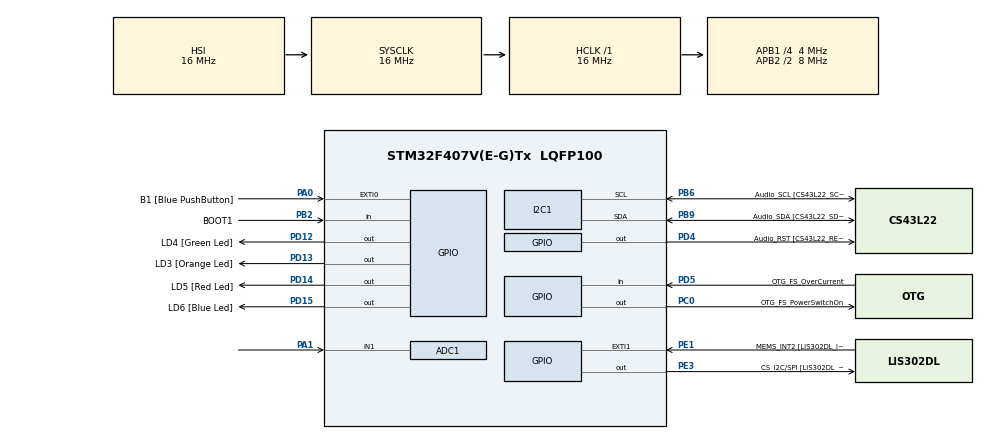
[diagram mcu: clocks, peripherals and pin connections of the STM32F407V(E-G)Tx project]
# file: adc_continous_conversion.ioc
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ADC1.Channel-0\#ChannelRegularConversion=ADC_CHANNEL_1
ADC1.Channel-1\#ChannelInjectedConversion=ADC_CHANNEL_1
ADC1.ContinuousConvMode=ENABLE
ADC1.EOCSelection=ADC_EOC_SEQ_CONV
ADC1.InjNumberOfConversion=1
ADC1.InjectedOffset-1\#ChannelInjectedConversion=0
ADC1.InjectedRank-1\#ChannelInjectedConversion=1
ADC1.NbrOfConversion=1
ADC1.NbrOfConversionFlag=1
ADC1.Rank-0\#ChannelRegularConversion=1
ADC1.SamplingTime-0\#ChannelRegularConversion=ADC_SAMPLETIME_3CYCLES
ADC1.SamplingTime-1\#ChannelInjectedConversion=ADC_SAMPLETIME_3CYCLES
ADC1.ScanConvMode=DISABLE
ADC1.master=1
Mcu.Family=STM32F4
Mcu.Name=STM32F407V(E-G)Tx
Mcu.Package=LQFP100
NVIC.PriorityGroup=NVIC_PRIORITYGROUP_0
PA0-WKUP.GPIO_Label=B1 [Blue PushButton]
PA0-WKUP.GPIO_ModeDefaultEXTI=GPIO_MODE_EVT_RISING
PA0-WKUP.GPIO_PuPd=GPIO_NOPULL
PA0-WKUP.Signal=GPXTI0
PA1.Signal=ADCx_IN1
PA10.GPIO_Label=OTG_FS_ID
PA10.GPIO_Mode=GPIO_MODE_AF_PP
PA10.GPIO_PuPd=GPIO_NOPULL
PA10.GPIO_Speed=GPIO_SPEED_FREQ_LOW
PA10.Signal=USB_OTG_FS_ID
PA11.GPIO_Label=OTG_FS_DM
PA11.GPIO_Mode=GPIO_MODE_AF_PP
PA11.GPIO_PuPd=GPIO_NOPULL
PA11.GPIO_Speed=GPIO_SPEED_FREQ_LOW
PA11.Signal=USB_OTG_FS_DM
PA12.GPIO_Label=OTG_FS_DP
PA12.GPIO_Mode=GPIO_MODE_AF_PP
PA12.GPIO_PuPd=GPIO_NOPULL
PA12.GPIO_Speed=GPIO_SPEED_FREQ_LOW
PA12.Signal=USB_OTG_FS_DP
PA13.GPIO_Label=SWDIO
PA13.Mode=Serial_Wire
PA13.Signal=SYS_JTMS-SWDIO
PA14.GPIO_Label=SWCLK
PA14.Mode=Serial_Wire
PA14.Signal=SYS_JTCK-SWCLK
PA4.GPIO_Label=I2S3_WS [CS43L22_LRCK]
PA4.GPIO_Mode=GPIO_MODE_AF_PP
PA4.GPIO_PuPd=GPIO_NOPULL
PA4.GPIO_Speed=GPIO_SPEED_FREQ_LOW
PA4.Signal=I2S3_WS
PA5.GPIO_Label=SPI1_SCK [LIS302DL_SCL/SPC]
PA5.GPIO_Mode=GPIO_MODE_AF_PP
PA5.GPIO_PuPd=GPIO_NOPULL
PA5.GPIO_Speed=GPIO_SPEED_FREQ_LOW
PA5.Signal=SPI1_SCK
PA6.GPIO_Label=SPI1_MISO [LIS302DL_SDO]
PA6.GPIO_Mode=GPIO_MODE_AF_PP
PA6.GPIO_PuPd=GPIO_NOPULL
PA6.GPIO_Speed=GPIO_SPEED_FREQ_LOW
PA6.Signal=SPI1_MISO
PA7.GPIO_Label=SPI1_MOSI [LIS302DL_SDA/SDI/SDO]
PA7.GPIO_Mode=GPIO_MODE_AF_PP
PA7.GPIO_PuPd=GPIO_NOPULL
PA7.GPIO_Speed=GPIO_SPEED_FREQ_LOW
PA7.Signal=SPI1_MOSI
PA9.GPIO_Label=VBUS_FS
PA9.GPIO_Mode=GPIO_MODE_INPUT
PA9.GPIO_PuPd=GPIO_NOPULL
PA9.Signal=USB_OTG_FS_VBUS
PB10.GPIO_Label=CLK_IN [MP45DT02_CLK]
PB10.GPIO_Mode=GPIO_MODE_AF_PP
PB10.GPIO_PuPd=GPIO_NOPULL
PB10.GPIO_Speed=GPIO_SPEED_FREQ_LOW
PB10.Signal=I2S2_CK
PB2.GPIO_Label=BOOT1
PB2.GPIO_Mode=GPIO_MODE_INPUT
PB2.GPIO_PuPd=GPIO_NOPULL
PB2.Signal=GPIO_Input
PB3.GPIO_Label=SWO
PB3.Signal=SYS_JTDO-SWO
PB6.GPIO_Label=Audio_SCL [CS43L22_SCL]
PB6.GPIO_Mode=GPIO_MODE_AF_OD
PB6.GPIO_Pu=GPIO_PULLUP
PB6.GPIO_PuPd=GPIO_NOPULL
PB6.GPIO_Speed=GPIO_SPEED_FREQ_LOW
PB6.Mode=I2C
PB6.Signal=I2C1_SCL
PB9.GPIO_Label=Audio_SDA [CS43L22_SDA]
PB9.GPIO_Mode=GPIO_MODE_AF_OD
PB9.GPIO_Pu=GPIO_PULLUP
PB9.GPIO_PuPd=GPIO_NOPULL
PB9.GPIO_Speed=GPIO_SPEED_FREQ_LOW
PB9.Mode=I2C
PB9.Signal=I2C1_SDA
PC0.GPIO_Label=OTG_FS_PowerSwitchOn
PC0.GPIO_PuPd=GPIO_NOPULL
PC0.GPIO_Speed=GPIO_SPEED_FREQ_LOW
PC0.PinState=GPIO_PIN_SET
PC0.Signal=GPIO_Output
PC10.GPIO_Label=I2S3_SCK [CS43L22_SCLK]
PC10.GPIO_Mode=GPIO_MODE_AF_PP
PC10.GPIO_PuPd=GPIO_NOPULL
PC10.GPIO_Speed=GPIO_SPEED_FREQ_LOW
PC10.Signal=I2S3_CK
PC12.GPIO_Label=I2S3_SD [CS43L22_SDIN]
PC12.GPIO_Mode=GPIO_MODE_AF_PP
PC12.GPIO_PuPd=GPIO_NOPULL
PC12.GPIO_Speed=GPIO_SPEED_FREQ_LOW
PC12.Signal=I2S3_SD
PC14-OSC32_IN.GPIO_Label=PC14-OSC32_IN
PC14-OSC32_IN.Mode=LSE-External-Oscillator
PC14-OSC32_IN.Signal=RCC_OSC32_IN
PC15-OSC32_OUT.GPIO_Label=PC15-OSC32_OUT
PC15-OSC32_OUT.Mode=LSE-External-Oscillator
PC15-OSC32_OUT.Signal=RCC_OSC32_OUT
PC3.GPIO_Label=PDM_OUT [MP45DT02_DOUT]
PC3.GPIO_Mode=GPIO_MODE_AF_PP
PC3.GPIO_PuPd=GPIO_NOPULL
PC3.GPIO_Speed=GPIO_SPEED_FREQ_LOW
PC3.Signal=I2S2_SD
PC7.GPIO_Label=I2S3_MCK [CS43L22_MCLK]
PC7.GPIO_Mode=GPIO_MODE_AF_PP
PC7.GPIO_PuPd=GPIO_NOPULL
PC7.GPIO_Speed=GPIO_SPEED_FREQ_LOW
PC7.Signal=I2S3_MCK
PD12.GPIO_Label=LD4 [Green Led]
PD12.GPIO_PuPd=GPIO_NOPULL
PD12.GPIO_Speed=GPIO_SPEED_FREQ_LOW
PD12.Signal=GPIO_Output
PD13.GPIO_Label=LD3 [Orange Led]
PD13.GPIO_PuPd=GPIO_NOPULL
PD13.GPIO_Speed=GPIO_SPEED_FREQ_LOW
PD13.Signal=GPIO_Output
PD14.GPIO_Label=LD5 [Red Led]
PD14.GPIO_PuPd=GPIO_NOPULL
PD14.GPIO_Speed=GPIO_SPEED_FREQ_LOW
PD14.Signal=GPIO_Output
PD15.GPIO_Label=LD6 [Blue Led]
PD15.GPIO_PuPd=GPIO_NOPULL
PD15.GPIO_Speed=GPIO_SPEED_FREQ_LOW
PD15.Signal=GPIO_Output
PD4.GPIO_Label=Audio_RST [CS43L22_RESET]
PD4.GPIO_PuPd=GPIO_NOPULL
PD4.GPIO_Speed=GPIO_SPEED_FREQ_LOW
PD4.Signal=GPIO_Output
PD5.GPIO_Label=OTG_FS_OverCurrent
PD5.GPIO_Mode=GPIO_MODE_INPUT
PD5.GPIO_PuPd=GPIO_NOPULL
PD5.Signal=GPIO_Input
PE1.GPIO_Label=MEMS_INT2 [LIS302DL_INT2]
PE1.GPIO_ModeDefaultEXTI=GPIO_MODE_EVT_RISING
PE1.GPIO_PuPd=GPIO_NOPULL
PE1.Signal=GPXTI1
PE3.GPIO_Label=CS_I2C/SPI [LIS302DL_CS_I2C/SPI]
PE3.GPIO_PuPd=GPIO_NOPULL
PE3.GPIO_Speed=GPIO_SPEED_FREQ_LOW
PE3.Signal=GPIO_Output
PH0-OSC_IN.GPIO_Label=PH0-OSC_IN
PH0-OSC_IN.Mode=HSE-External-Oscillator
PH0-OSC_IN.Signal=RCC_OSC_IN
PH1-OSC_OUT.GPIO_Label=PH1-OSC_OUT
PH1-OSC_OUT.Mode=HSE-External-Oscillator
PH1-OSC_OUT.Signal=RCC_OSC_OUT
ProjectManager.HeapSize=0x200
ProjectManager.StackSize=0x400
ProjectManager.TargetToolchain=STM32CubeIDE
RCC.48MHZClocksFreq_Value=48000000
RCC.AHBFreq_Value=16000000
RCC.APB1CLKDivider=RCC_HCLK_DIV4
RCC.APB1Freq_Value=4000000
RCC.APB1TimFreq_Value=8000000
RCC.APB2CLKDivider=RCC_HCLK_DIV2
RCC.APB2Freq_Value=8000000
RCC.APB2TimFreq_Value=16000000
RCC.CortexFreq_Value=16000000
RCC.HCLKFreq_Value=16000000
RCC.HSE_VALUE=8000000
RCC.HSI_VALUE=16000000
RCC.PLLM=8
RCC.PLLN=336
RCC.PLLQ=7
RCC.PLLSourceVirtual=RCC_PLLSOURCE_HSE
RCC.SYSCLKFreq_VALUE=16000000
RCC.VCOOutputFreq_Value=336000000
SH.ADCx_IN1.0=ADC1_IN1,IN1
board=STM32F407G-DISC1

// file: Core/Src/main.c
/* USER CODE BEGIN Header */
/**
 ******************************************************************************
 * @file           : main.c
 * @brief          : Main program body
 ******************************************************************************
 * @attention
 *
 * <h2><center>&copy; Copyright (c) 2022 STMicroelectronics.
 * All rights reserved.</center></h2>
 *
 * This software component is licensed by ST under Ultimate Liberty license
 * SLA0044, the "License"; You may not use this file except in compliance with
 * the License. You may obtain a copy of the License at:
 *                             www.st.com/SLA0044
 *
 ******************************************************************************
 */
/* USER CODE END Header */
#include "main.h"

/* USER CODE BEGIN Includes */
#include <string.h>
#include <stdio.h>
/* USER CODE END Includes */

 ADC_HandleTypeDef hadc1;

I2C_HandleTypeDef hi2c1;

void SystemClock_Config(void);
static void MX_GPIO_Init(void);
static void MX_I2C1_Init(void);
static void MX_ADC1_Init(void);

int main(void)
{

  /* MCU Configuration--------------------------------------------------------*/

  /* Reset of all peripherals, Initializes the Flash interface and the Systick. */
  HAL_Init();

  /* Configure the system clock */
  SystemClock_Config();

  /* Initialize all configured peripherals */
  MX_GPIO_Init();
  MX_I2C1_Init();
  MX_ADC1_Init();
  /* USER CODE BEGIN 2 */
	LCD_Handle_t lcd_handle;
	lcd_handle.Slave_address = 0x4E;
	lcd_handle.i2c_handle = &hi2c1;
	lcd_handle.bg = 1;
	lcd_init(&lcd_handle);

	char* text = "Willkommen in Embedded Software!\0";
	uint32_t delayValue = 100;
	printText(&lcd_handle, text, delayValue);
	delayValue = 10;

	uint16_t adc_value = 0;
	char msg[30];
  /* USER CODE END 2 */

  /* Infinite loop */
  /* USER CODE BEGIN WHILE */
	HAL_ADC_Start(&hadc1);

	while (1)
	{
    /* USER CODE END WHILE */

    /* USER CODE BEGIN 3 */

		// Get ADC value
		HAL_GPIO_WritePin(LD6_GPIO_Port, LD6_Pin,1);

		if(HAL_ADC_PollForConversion(&hadc1, 1) == HAL_OK){
			adc_value = HAL_ADC_GetValue(&hadc1);
			HAL_GPIO_WritePin(LD6_GPIO_Port, LD6_Pin,0);
		}
		HAL_GPIO_WritePin(LD6_GPIO_Port, LD6_Pin,1);

		//float v1 = (adc_value) * ((3.3)/4096.0);
		// Convert to string and print
		sprintf(msg, "V1: %hu ", adc_value);
		printText(&lcd_handle, msg, 1);

		// Pretend we have to do something else for a while
		HAL_Delay(100);
		HAL_GPIO_WritePin(LD6_GPIO_Port, LD6_Pin,0);
	}
  /* USER CODE END 3 */
}

void SystemClock_Config(void)
{
  RCC_OscInitTypeDef RCC_OscInitStruct = {0};
  RCC_ClkInitTypeDef RCC_ClkInitStruct = {0};

  /** Configure the main internal regulator output voltage
  */
  __HAL_RCC_PWR_CLK_ENABLE();
  __HAL_PWR_VOLTAGESCALING_CONFIG(PWR_REGULATOR_VOLTAGE_SCALE1);

  /** Initializes the RCC Oscillators according to the specified parameters
  * in the RCC_OscInitTypeDef structure.
  */
  RCC_OscInitStruct.OscillatorType = RCC_OSCILLATORTYPE_HSI;
  RCC_OscInitStruct.HSIState = RCC_HSI_ON;
  RCC_OscInitStruct.HSICalibrationValue = RCC_HSICALIBRATION_DEFAULT;
  RCC_OscInitStruct.PLL.PLLState = RCC_PLL_NONE;
  if (HAL_RCC_OscConfig(&RCC_OscInitStruct) != HAL_OK)
  {
    Error_Handler();
  }

  /** Initializes the CPU, AHB and APB buses clocks
  */
  RCC_ClkInitStruct.ClockType = RCC_CLOCKTYPE_HCLK|RCC_CLOCKTYPE_SYSCLK
                              |RCC_CLOCKTYPE_PCLK1|RCC_CLOCKTYPE_PCLK2;
  RCC_ClkInitStruct.SYSCLKSource = RCC_SYSCLKSOURCE_HSI;
  RCC_ClkInitStruct.AHBCLKDivider = RCC_SYSCLK_DIV1;
  RCC_ClkInitStruct.APB1CLKDivider = RCC_HCLK_DIV4;
  RCC_ClkInitStruct.APB2CLKDivider = RCC_HCLK_DIV2;

  if (HAL_RCC_ClockConfig(&RCC_ClkInitStruct, FLASH_LATENCY_0) != HAL_OK)
  {
    Error_Handler();
  }
}

static void MX_ADC1_Init(void)
{

  ADC_ChannelConfTypeDef sConfig = {0};
  ADC_InjectionConfTypeDef sConfigInjected = {0};

  /** Configure the global features of the ADC (Clock, Resolution, Data Alignment and number of conversion)
  */
  hadc1.Instance = ADC1;
  hadc1.Init.ClockPrescaler = ADC_CLOCK_SYNC_PCLK_DIV2;
  hadc1.Init.Resolution = ADC_RESOLUTION_12B;
  hadc1.Init.ScanConvMode = DISABLE;
  hadc1.Init.ContinuousConvMode = ENABLE;
  hadc1.Init.DiscontinuousConvMode = DISABLE;
  hadc1.Init.ExternalTrigConvEdge = ADC_EXTERNALTRIGCONVEDGE_NONE;
  hadc1.Init.ExternalTrigConv = ADC_SOFTWARE_START;
  hadc1.Init.DataAlign = ADC_DATAALIGN_RIGHT;
  hadc1.Init.NbrOfConversion = 1;
  hadc1.Init.DMAContinuousRequests = DISABLE;
  hadc1.Init.EOCSelection = ADC_EOC_SEQ_CONV;
  if (HAL_ADC_Init(&hadc1) != HAL_OK)
  {
    Error_Handler();
  }

  /** Configure for the selected ADC regular channel its corresponding rank in the sequencer and its sample time.
  */
  sConfig.Channel = ADC_CHANNEL_1;
  sConfig.Rank = 1;
  sConfig.SamplingTime = ADC_SAMPLETIME_3CYCLES;
  if (HAL_ADC_ConfigChannel(&hadc1, &sConfig) != HAL_OK)
  {
    Error_Handler();
  }

  /** Configures for the selected ADC injected channel its corresponding rank in the sequencer and its sample time
  */
  sConfigInjected.InjectedChannel = ADC_CHANNEL_1;
  sConfigInjected.InjectedRank = 1;
  sConfigInjected.InjectedNbrOfConversion = 1;
  sConfigInjected.InjectedSamplingTime = ADC_SAMPLETIME_3CYCLES;
  sConfigInjected.ExternalTrigInjecConvEdge = ADC_EXTERNALTRIGINJECCONVEDGE_NONE;
  sConfigInjected.ExternalTrigInjecConv = ADC_INJECTED_SOFTWARE_START;
  sConfigInjected.AutoInjectedConv = DISABLE;
  sConfigInjected.InjectedDiscontinuousConvMode = DISABLE;
  sConfigInjected.InjectedOffset = 0;
  if (HAL_ADCEx_InjectedConfigChannel(&hadc1, &sConfigInjected) != HAL_OK)
  {
    Error_Handler();
  }

}

static void MX_I2C1_Init(void)
{

  hi2c1.Instance = I2C1;
  hi2c1.Init.ClockSpeed = 100000;
  hi2c1.Init.DutyCycle = I2C_DUTYCYCLE_2;
  hi2c1.Init.OwnAddress1 = 0;
  hi2c1.Init.AddressingMode = I2C_ADDRESSINGMODE_7BIT;
  hi2c1.Init.DualAddressMode = I2C_DUALADDRESS_DISABLE;
  hi2c1.Init.OwnAddress2 = 0;
  hi2c1.Init.GeneralCallMode = I2C_GENERALCALL_DISABLE;
  hi2c1.Init.NoStretchMode = I2C_NOSTRETCH_DISABLE;
  if (HAL_I2C_Init(&hi2c1) != HAL_OK)
  {
    Error_Handler();
  }

}

static void MX_GPIO_Init(void)
{
  GPIO_InitTypeDef GPIO_InitStruct = {0};

  /* GPIO Ports Clock Enable */
  __HAL_RCC_GPIOE_CLK_ENABLE();
  __HAL_RCC_GPIOC_CLK_ENABLE();
  __HAL_RCC_GPIOH_CLK_ENABLE();
  __HAL_RCC_GPIOA_CLK_ENABLE();
  __HAL_RCC_GPIOB_CLK_ENABLE();
  __HAL_RCC_GPIOD_CLK_ENABLE();

  /*Configure GPIO pin Output Level */
  HAL_GPIO_WritePin(CS_I2C_SPI_GPIO_Port, CS_I2C_SPI_Pin, GPIO_PIN_RESET);

  /*Configure GPIO pin Output Level */
  HAL_GPIO_WritePin(OTG_FS_PowerSwitchOn_GPIO_Port, OTG_FS_PowerSwitchOn_Pin, GPIO_PIN_SET);

  /*Configure GPIO pin Output Level */
  HAL_GPIO_WritePin(GPIOD, LD4_Pin|LD3_Pin|LD5_Pin|LD6_Pin
                          |Audio_RST_Pin, GPIO_PIN_RESET);

  /*Configure GPIO pin : CS_I2C_SPI_Pin */
  GPIO_InitStruct.Pin = CS_I2C_SPI_Pin;
  GPIO_InitStruct.Mode = GPIO_MODE_OUTPUT_PP;
  GPIO_InitStruct.Pull = GPIO_NOPULL;
  GPIO_InitStruct.Speed = GPIO_SPEED_FREQ_LOW;
  HAL_GPIO_Init(CS_I2C_SPI_GPIO_Port, &GPIO_InitStruct);

  /*Configure GPIO pin : OTG_FS_PowerSwitchOn_Pin */
  GPIO_InitStruct.Pin = OTG_FS_PowerSwitchOn_Pin;
  GPIO_InitStruct.Mode = GPIO_MODE_OUTPUT_PP;
  GPIO_InitStruct.Pull = GPIO_NOPULL;
  GPIO_InitStruct.Speed = GPIO_SPEED_FREQ_LOW;
  HAL_GPIO_Init(OTG_FS_PowerSwitchOn_GPIO_Port, &GPIO_InitStruct);

  /*Configure GPIO pin : PDM_OUT_Pin */
  GPIO_InitStruct.Pin = PDM_OUT_Pin;
  GPIO_InitStruct.Mode = GPIO_MODE_AF_PP;
  GPIO_InitStruct.Pull = GPIO_NOPULL;
  GPIO_InitStruct.Speed = GPIO_SPEED_FREQ_LOW;
  GPIO_InitStruct.Alternate = GPIO_AF5_SPI2;
  HAL_GPIO_Init(PDM_OUT_GPIO_Port, &GPIO_InitStruct);

  /*Configure GPIO pin : B1_Pin */
  GPIO_InitStruct.Pin = B1_Pin;
  GPIO_InitStruct.Mode = GPIO_MODE_EVT_RISING;
  GPIO_InitStruct.Pull = GPIO_NOPULL;
  HAL_GPIO_Init(B1_GPIO_Port, &GPIO_InitStruct);

  /*Configure GPIO pin : I2S3_WS_Pin */
  GPIO_InitStruct.Pin = I2S3_WS_Pin;
  GPIO_InitStruct.Mode = GPIO_MODE_AF_PP;
  GPIO_InitStruct.Pull = GPIO_NOPULL;
  GPIO_InitStruct.Speed = GPIO_SPEED_FREQ_LOW;
  GPIO_InitStruct.Alternate = GPIO_AF6_SPI3;
  HAL_GPIO_Init(I2S3_WS_GPIO_Port, &GPIO_InitStruct);

  /*Configure GPIO pins : SPI1_SCK_Pin SPI1_MISO_Pin SPI1_MOSI_Pin */
  GPIO_InitStruct.Pin = SPI1_SCK_Pin|SPI1_MISO_Pin|SPI1_MOSI_Pin;
  GPIO_InitStruct.Mode = GPIO_MODE_AF_PP;
  GPIO_InitStruct.Pull = GPIO_NOPULL;
  GPIO_InitStruct.Speed = GPIO_SPEED_FREQ_LOW;
  GPIO_InitStruct.Alternate = GPIO_AF5_SPI1;
  HAL_GPIO_Init(GPIOA, &GPIO_InitStruct);

  /*Configure GPIO pin : BOOT1_Pin */
  GPIO_InitStruct.Pin = BOOT1_Pin;
  GPIO_InitStruct.Mode = GPIO_MODE_INPUT;
  GPIO_InitStruct.Pull = GPIO_NOPULL;
  HAL_GPIO_Init(BOOT1_GPIO_Port, &GPIO_InitStruct);

  /*Configure GPIO pin : CLK_IN_Pin */
  GPIO_InitStruct.Pin = CLK_IN_Pin;
  GPIO_InitStruct.Mode = GPIO_MODE_AF_PP;
  GPIO_InitStruct.Pull = GPIO_NOPULL;
  GPIO_InitStruct.Speed = GPIO_SPEED_FREQ_LOW;
  GPIO_InitStruct.Alternate = GPIO_AF5_SPI2;
  HAL_GPIO_Init(CLK_IN_GPIO_Port, &GPIO_InitStruct);

  /*Configure GPIO pins : LD4_Pin LD3_Pin LD5_Pin LD6_Pin
                           Audio_RST_Pin */
  GPIO_InitStruct.Pin = LD4_Pin|LD3_Pin|LD5_Pin|LD6_Pin
                          |Audio_RST_Pin;
  GPIO_InitStruct.Mode = GPIO_MODE_OUTPUT_PP;
  GPIO_InitStruct.Pull = GPIO_NOPULL;
  GPIO_InitStruct.Speed = GPIO_SPEED_FREQ_LOW;
  HAL_GPIO_Init(GPIOD, &GPIO_InitStruct);

  /*Configure GPIO pins : I2S3_MCK_Pin I2S3_SCK_Pin I2S3_SD_Pin */
  GPIO_InitStruct.Pin = I2S3_MCK_Pin|I2S3_SCK_Pin|I2S3_SD_Pin;
  GPIO_InitStruct.Mode = GPIO_MODE_AF_PP;
  GPIO_InitStruct.Pull = GPIO_NOPULL;
  GPIO_InitStruct.Speed = GPIO_SPEED_FREQ_LOW;
  GPIO_InitStruct.Alternate = GPIO_AF6_SPI3;
  HAL_GPIO_Init(GPIOC, &GPIO_InitStruct);

  /*Configure GPIO pin : VBUS_FS_Pin */
  GPIO_InitStruct.Pin = VBUS_FS_Pin;
  GPIO_InitStruct.Mode = GPIO_MODE_INPUT;
  GPIO_InitStruct.Pull = GPIO_NOPULL;
  HAL_GPIO_Init(VBUS_FS_GPIO_Port, &GPIO_InitStruct);

  /*Configure GPIO pins : OTG_FS_ID_Pin OTG_FS_DM_Pin OTG_FS_DP_Pin */
  GPIO_InitStruct.Pin = OTG_FS_ID_Pin|OTG_FS_DM_Pin|OTG_FS_DP_Pin;
  GPIO_InitStruct.Mode = GPIO_MODE_AF_PP;
  GPIO_InitStruct.Pull = GPIO_NOPULL;
  GPIO_InitStruct.Speed = GPIO_SPEED_FREQ_LOW;
  GPIO_InitStruct.Alternate = GPIO_AF10_OTG_FS;
  HAL_GPIO_Init(GPIOA, &GPIO_InitStruct);

  /*Configure GPIO pin : OTG_FS_OverCurrent_Pin */
  GPIO_InitStruct.Pin = OTG_FS_OverCurrent_Pin;
  GPIO_InitStruct.Mode = GPIO_MODE_INPUT;
  GPIO_InitStruct.Pull = GPIO_NOPULL;
  HAL_GPIO_Init(OTG_FS_OverCurrent_GPIO_Port, &GPIO_InitStruct);

  /*Configure GPIO pin : MEMS_INT2_Pin */
  GPIO_InitStruct.Pin = MEMS_INT2_Pin;
  GPIO_InitStruct.Mode = GPIO_MODE_EVT_RISING;
  GPIO_InitStruct.Pull = GPIO_NOPULL;
  HAL_GPIO_Init(MEMS_INT2_GPIO_Port, &GPIO_InitStruct);

}

void Error_Handler(void)
{
	__disable_irq();
	while (1)
	{
	}
}
